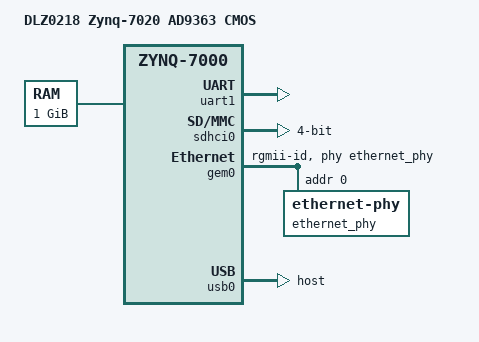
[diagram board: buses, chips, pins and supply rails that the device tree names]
#include <dt-bindings/gpio/gpio.h>
#include "zynq-7000.dtsi"

/ {
    model = "DLZ0218 Zynq-7020 AD9363 CMOS";
    compatible = "xlnx,zynq-7000";

    aliases {
        serial0 = &uart1;
        ethernet0 = &gem0;
        mmc0 = &sdhci0;
    };

    chosen {
        stdout-path = "serial0:115200n8";
    };

    memory@0 {
        device_type = "memory";
        reg = <0x0 0x40000000>;
    };
};

&clkc {
    ps-clk-frequency = <33333333>;
};

&uart1 {
    status = "okay";
};

&sdhci0 {
    status = "okay";
    bus-width = <4>;
    disable-wp;
    max-frequency = <50000000>;
};

&gem0 {
    status = "okay";
    phy-mode = "rgmii-id";
    phy-handle = <&ethernet_phy>;
    #address-cells = <1>;
    #size-cells = <0>;

    /* Address 0 and rgmii-id match the tested U-Boot configuration.
     * PHY reset is wired to PS_PRO_B; there is no reset GPIO.
     */
    ethernet_phy: ethernet-phy@0 {
        reg = <0>;
    };
};

/* The fitted USB-A connector is a host port. Force the controller role:
 * P6 (USB_ID selector) is unpopulated on the tested board revision.
 * ULPI MIO28..39 and PHY reset MIO46 are initialized by PS7/SPL.
 */
&usb0 {
    status = "okay";
    dr_mode = "host";
};

/* QSPI remains disabled until separately tested. */
